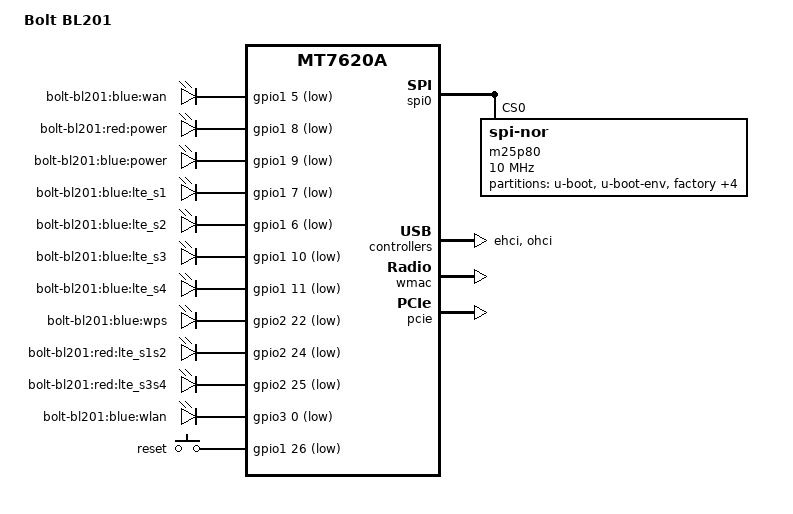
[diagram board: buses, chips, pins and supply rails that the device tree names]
/dts-v1/;

#include "mt7620a.dtsi"

#include <dt-bindings/input/input.h>

/ {
	compatible = "bolt-bl201", "ralink,mt7620a-soc";
	model = "Bolt BL201";

	chosen {
		bootargs = "console=ttyS0,115200";
	};

	gpio-leds {
		compatible = "gpio-leds";

		wan {
			label = "bolt-bl201:blue:wan";
			gpios = <&gpio1 5 1>;
		};

		power_red {
			label = "bolt-bl201:red:power";
			gpios = <&gpio1 8 1>;
		};

		power_blue {
			label = "bolt-bl201:blue:power";
			gpios = <&gpio1 9 1>;
		};

		lte_s1_blue {
			label = "bolt-bl201:blue:lte_s1";
			gpios = <&gpio1 7 1>;
		};

		lte_s2_blue {
			label = "bolt-bl201:blue:lte_s2";
			gpios = <&gpio1 6 1>;
		};

		lte_s3_blue {
			label = "bolt-bl201:blue:lte_s3";
			gpios = <&gpio1 10 1>;
		};

		lte_s4_blue {
			label = "bolt-bl201:blue:lte_s4";
			gpios = <&gpio1 11 1>;
		};

		wps_blue {
			label = "bolt-bl201:blue:wps";
			gpios = <&gpio2 22 1>;
		};

		lte_s1s2_red {
			label = "bolt-bl201:red:lte_s1s2";
			gpios = <&gpio2 24 1>;
		};

		lte_s3s4_red {
			label = "bolt-bl201:red:lte_s3s4";
			gpios = <&gpio2 25 1>;
		};

		wlan_blue {
			label = "bolt-bl201:blue:wlan";
			gpios = <&gpio3 0 1>;
		};
	};

	gpio-keys-polled {
		compatible = "gpio-keys-polled";
		#address-cells = <1>;
		#size-cells = <0>;
		poll-interval = <20>;

		reset {
			label = "reset";
			gpios = <&gpio1 26 1>;
			linux,code = <KEY_RESTART>;
		};
	};
};

&gpio0 {
	status = "okay";
};

&gpio1 {
	status = "okay";
};

&gpio2 {
	status = "okay";
};

&gpio3 {
	status = "okay";
};

&spi0 {
	status = "okay";

	m25p80@0 {
		#address-cells = <1>;
		#size-cells = <1>;
		compatible = "jedec,spi-nor";
		reg = <0>;
		linux,modalias = "m25p80", "w25q128";
		spi-max-frequency = <10000000>;

		partition@0 {
			label = "u-boot";
			reg = <0x0 0x30000>;
		};

		partition@30000 {
			label = "u-boot-env";
			reg = <0x30000 0x10000>;
			read-only;
		};

		factory: partition@40000 {
			label = "factory";
			reg = <0x40000 0x10000>;
			read-only;
		};

		partition@50000 {
			label = "firmware";
			reg = <0x50000 0xf80000>;
		};

		partition@fd0000 {
			label = "crash";
			reg = <0xfd0000 0x10000>;
		};

		partition@fe0000 {
			label = "reserved";
			reg = <0xfe0000 0x10000>;
			read-only;
		};

		partition@ff0000 {
			label = "Bdata";
			reg = <0xff0000 0x10000>;
		};
	};
};

&ehci {
	status = "okay";
};

&ohci {
	status = "okay";
};

&ethernet {
	pinctrl-names = "default";
	pinctrl-0 = <&ephy_pins>;
	mtd-mac-address = <&factory 0x28>;
	mediatek,portmap = "llllw";
};

&wmac {
	ralink,mtd-eeprom = <&factory 0>;
};

&pcie {
	status = "okay";

	pcie-bridge {
		mt76@0,0 {
			reg = <0x0000 0 0 0 0>;
			device_type = "pci";
			mediatek,mtd-eeprom = <&factory 0x8000>;
			mediatek,2ghz = <0>;
		};
	};
};

&pinctrl {
	state_default: pinctrl0 {
		gpio {
			ralink,group = "i2c", "uartf", "rgmii1", "rgmii2", "ephy", "wled", "nd_sd";
			ralink,function = "gpio";
		};

		pa {
			ralink,group = "pa";
			ralink,function = "pa";
		};
	};
};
